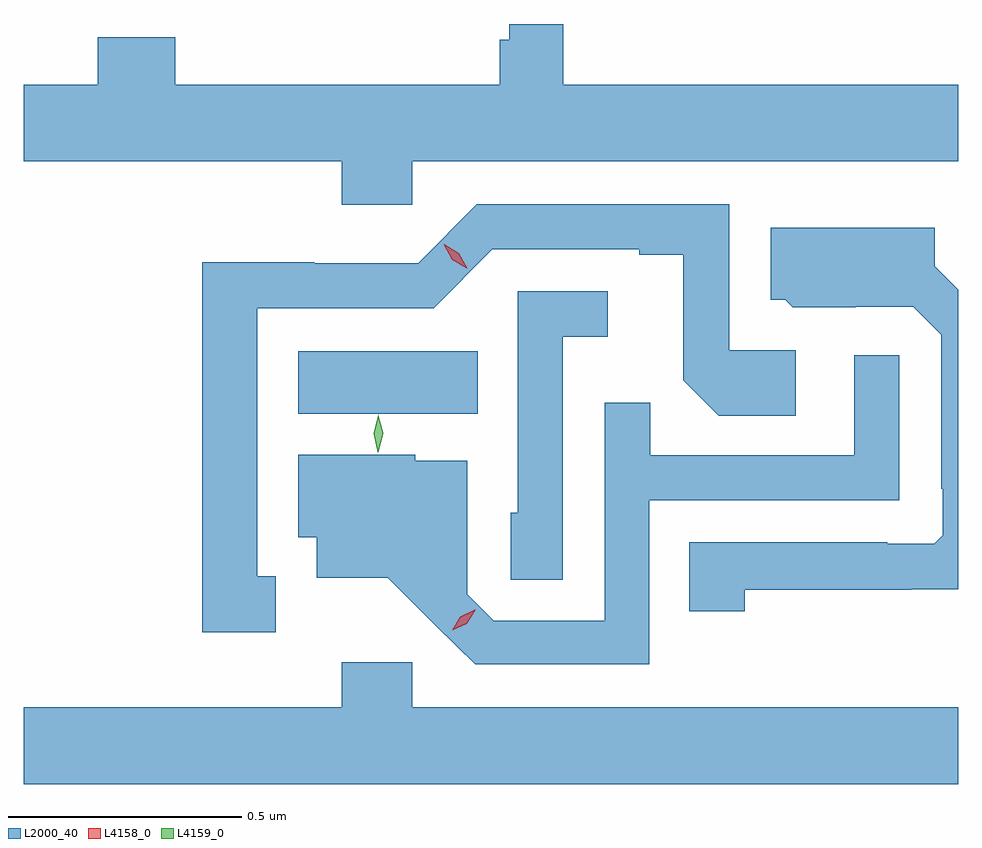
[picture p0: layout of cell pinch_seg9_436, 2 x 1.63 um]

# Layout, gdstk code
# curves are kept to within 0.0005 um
import gdstk
lib = gdstk.Library(unit=1e-6, precision=1e-09)
def R(c, l, rs):  # rectangles x0, y0, x1, y1
    for r in rs: c.add(gdstk.rectangle(r[:2], r[2:], *l))
def P(c, l, *ps):  # polygons
    for p in ps: c.add(gdstk.Polygon(p, *l))
L2000_40 = (2000, 40)
L4158_0 = (4158, 0)
L4159_0 = (4159, 0)

pinch_seg9_436 = lib.new_cell('pinch_seg9_436')
R(pinch_seg9_436, L2000_40, [(227.726,1239.836,228.11,1239.97)])
P(pinch_seg9_436, L2000_40, [(227.97,1240.376),(229.138,1240.376),(229.138,1240.54),(228.293,1240.54),(228.293,1240.67),(228.177,1240.67),(228.177,1240.636),(228.157,1240.636),(228.157,1240.54),(227.462,1240.54),(227.462,1240.642),(227.297,1240.642),(227.297,1240.54),(227.138,1240.54),(227.138,1240.376),(227.819,1240.376),(227.819,1240.283),(227.97,1240.283)],
  [(227.677,1239.489),(227.638,1239.489),(227.638,1240.062),(228.015,1240.062),(228.141,1240.188),(228.455,1240.188),(228.455,1240.176),(228.549,1240.176),(228.549,1239.908),(228.625,1239.832),(228.79,1239.832),(228.79,1239.972),(228.648,1239.972),(228.648,1240.284),(228.108,1240.284),(227.982,1240.158),(227.76,1240.158),(227.76,1240.16),(227.52,1240.16),(227.52,1239.369),(227.677,1239.369)],
  [(228.681,1239.46),(229.037,1239.46),(229.037,1239.461),(229.138,1239.461),(229.138,1240.101),(229.087,1240.152),(229.087,1240.234),(228.737,1240.234),(228.737,1240.08),(228.768,1240.08),(228.784,1240.064),(228.918,1240.064),(228.918,1240.065),(229.041,1240.065),(229.101,1240.005),(229.101,1239.676),(229.104,1239.676),(229.104,1239.576),(229.086,1239.558),(228.986,1239.558),(228.986,1239.561),(228.562,1239.561),(228.562,1239.414),(228.681,1239.414)],
  [(228.291,1240.001),(228.388,1240.001),(228.388,1240.098),(228.195,1240.098),(228.195,1239.624),(228.18,1239.624),(228.18,1239.481),(228.291,1239.481)],
  [(228.477,1239.651),(229.011,1239.651),(229.011,1239.961),(228.915,1239.961),(228.915,1239.747),(228.479,1239.747),(228.479,1239.86),(228.381,1239.86),(228.381,1239.393),(228.144,1239.393),(228.087,1239.45),(228.087,1239.736),(227.976,1239.736),(227.976,1239.748),(227.726,1239.748),(227.726,1239.572),(227.765,1239.572),(227.765,1239.485),(227.917,1239.485),(228.104,1239.3),(228.477,1239.3)],
  [(229.138,1239.208),(227.97,1239.208),(227.97,1239.304),(227.819,1239.304),(227.819,1239.208),(227.138,1239.208),(227.138,1239.044),(229.138,1239.044)])
P(pinch_seg9_436, L4158_0, [(228.055,1239.373),(228.055,1239.373),(228.072,1239.402),(228.103,1239.417),(228.104,1239.417),(228.104,1239.416),(228.086,1239.387),(228.055,1239.373)],
  [(228.086,1240.147),(228.055,1240.166),(228.037,1240.199),(228.037,1240.199),(228.038,1240.199),(228.069,1240.18),(228.087,1240.147),(228.087,1240.147)])
P(pinch_seg9_436, L4159_0, [(227.896,1239.754),(227.887,1239.794),(227.897,1239.833),(227.897,1239.834),(227.897,1239.833),(227.907,1239.794),(227.897,1239.754),(227.897,1239.754)])

lib.write_gds('pinch_seg9_436.gds')
